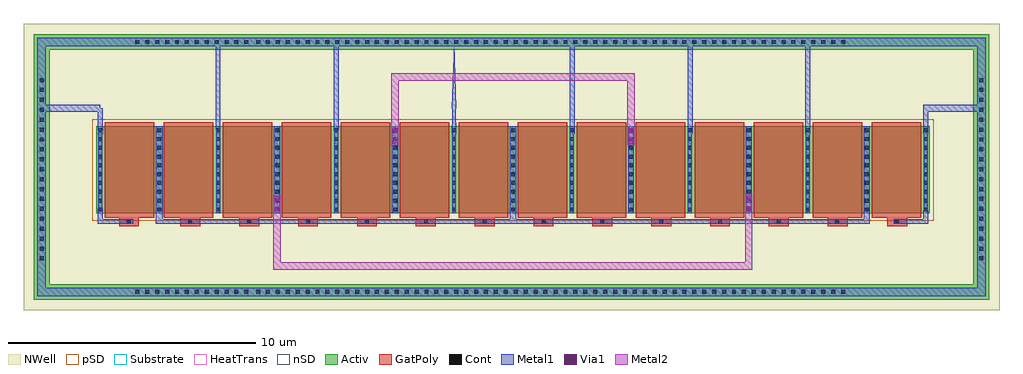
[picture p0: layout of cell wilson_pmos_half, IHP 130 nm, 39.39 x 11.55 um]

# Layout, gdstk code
from math import pi, radians
import gdstk
lib = gdstk.Library(unit=1e-6, precision=1e-09)
def R(c, l, rs):  # rectangles x0, y0, x1, y1
    for r in rs: c.add(gdstk.rectangle(r[:2], r[2:], *l))
def A(c, l, x, y, w, h, nx, ny, dx, dy):  # array of equal rectangles
    R(c, l, [(x+i*dx, y+j*dy, x+i*dx+w, y+j*dy+h) for i in range(nx) for j in range(ny)])
def P(c, l, *ps):  # polygons
    for p in ps: c.add(gdstk.Polygon(p, *l))
Activ = (1, 0)
GatPoly = (5, 0)
Cont = (6, 0)
nSD = (7, 0)
Metal1 = (8, 0)
Metal2 = (10, 0)
pSD = (14, 0)
Via1 = (19, 0)
NWell = (31, 0)
Substrate = (40, 0)
HeatTrans = (51, 0)

pmos_1 = lib.new_cell('pmos$1')
A(pmos_1, Activ, 0, 0, 0.3, 0.3, 15, 1, 2.38, 0)
R(pmos_1, Activ, [(0,0,33.62,3.5)])
A(pmos_1, GatPoly, 0.34, -0.18, 2, 3.86, 14, 1, 2.38, 0)
R(pmos_1, GatPoly, [(0.34,-0.18,2.34,3.68)])
A(pmos_1, Cont, 0.07, 0.07, 0.16, 0.16, 15, 9, 2.38, 0.355)
A(pmos_1, Cont, 0.07, 3.27, 0.16, 0.16, 15, 1, 2.38, 0)
A(pmos_1, Metal1, 2.45, 0, 0.16, 3.5, 14, 1, 2.38, 0)
R(pmos_1, Metal1, [(0.07,0,0.23,3.5), (0.07,0,0.23,3.5), (2.45,0,2.61,3.5)])
R(pmos_1, pSD, [(-0.18,-0.3,33.8,3.8)])
R(pmos_1, NWell, [(-0.31,-0.31,33.93,3.81)])
R(pmos_1, Substrate, [(33.32,0,33.62,0.3)])
A(pmos_1, HeatTrans, 0.34, -0.18, 2, 3.86, 14, 1, 2.38, 0)
pmos_1.add(gdstk.Label('pmos', (1.34,1.75), layer=63, texttype=0))
pmos_1.add(gdstk.Label('pmos', (1.34,1.75), layer=51, texttype=0))
pmos_1.add(gdstk.Label('pmos', (3.72,1.75), layer=51, texttype=0))
pmos_1.add(gdstk.Label('pmos', (6.1,1.75), layer=51, texttype=0))
pmos_1.add(gdstk.Label('pmos', (8.48,1.75), layer=51, texttype=0))
pmos_1.add(gdstk.Label('pmos', (10.86,1.75), layer=51, texttype=0))
pmos_1.add(gdstk.Label('pmos', (13.24,1.75), layer=51, texttype=0))
pmos_1.add(gdstk.Label('pmos', (15.62,1.75), layer=51, texttype=0))
pmos_1.add(gdstk.Label('pmos', (18,1.75), layer=51, texttype=0))
pmos_1.add(gdstk.Label('pmos', (20.38,1.75), layer=51, texttype=0))
pmos_1.add(gdstk.Label('pmos', (22.76,1.75), layer=51, texttype=0))
pmos_1.add(gdstk.Label('pmos', (25.14,1.75), layer=51, texttype=0))
pmos_1.add(gdstk.Label('pmos', (27.52,1.75), layer=51, texttype=0))
pmos_1.add(gdstk.Label('pmos', (29.9,1.75), layer=51, texttype=0))
pmos_1.add(gdstk.Label('pmos', (32.28,1.75), layer=51, texttype=0))

wilson_pmos_half = lib.new_cell('wilson_pmos_half')
A(wilson_pmos_half, GatPoly, -13.36, -1.885, 0.8, 0.355, 4, 1, 2.375, 0)
A(wilson_pmos_half, GatPoly, 5.64, -1.885, 0.8, 0.355, 4, 1, 2.375, 0)
R(wilson_pmos_half, GatPoly, [(-3.86,-1.89,-3.06,-1.53), (3.265,-1.89,4.065,-1.53), (-1.485,-1.885,-0.685,-1.53), (0.89,-1.885,1.69,-1.53), (15.165,-1.885,15.965,-1.53)])
P(wilson_pmos_half, GatPoly, [(-15.835,-1.885),(-15.835,-1.53),(-15.035,-1.53),(-15.035,-1.885),(-15.45,-1.885)])
A(wilson_pmos_half, Cont, -14.78, -4.615, 0.16, 0.16, 11, 2, 0.4, 10.085)
A(wilson_pmos_half, Cont, -10.31, -4.615, 0.16, 0.16, 30, 2, 0.4, 10.085)
A(wilson_pmos_half, Cont, 1.7, -4.615, 0.16, 0.16, 30, 2, 0.4, 10.085)
A(wilson_pmos_half, Cont, -19.04, -3.265, 0.16, 0.16, 1, 19, 0, 0.4)
A(wilson_pmos_half, Cont, 18.885, -3.265, 0.16, 0.16, 1, 19, 0, 0.4)
A(wilson_pmos_half, Cont, 1.215, -1.775, 0.16, 0.16, 3, 1, 2.37, 0)
R(wilson_pmos_half, Cont, [(-15.19,-4.615,-15.03,-4.455), (-15.53,-1.775,-15.37,-1.615), (-13.055,-1.775,-12.895,-1.615), (-10.655,-1.775,-10.495,-1.615), (-8.28,-1.775,-8.12,-1.615), (-5.915,-1.775,-5.755,-1.615), (-3.53,-1.775,-3.37,-1.615), (-1.165,-1.775,-1.005,-1.615), (8.335,-1.775,8.495,-1.615), (10.71,-1.775,10.87,-1.615), (13.075,-1.775,13.235,-1.615), (15.475,-1.775,15.635,-1.615), (-15.19,5.47,-15.03,5.63)])
R(wilson_pmos_half, Metal1, [(14.22,-1.795,14.46,2.14), (-9.59,-1.36,-9.34,2.14), (-4.835,-1.36,-4.565,2.14), (4.705,-1.36,4.94,2.14), (9.455,-1.36,9.705,2.14)])
P(wilson_pmos_half, Metal1, [(-14.355,-1.795),(-14.355,2.14),(-14.085,2.14),(-14.085,-1.795),(-14.185,-1.795)],
  [(-0.075,-1.695),(-0.075,2.14),(0.19,2.14),(0.19,-1.695),(0.1,-1.695)])
R(wilson_pmos_half, Via1, [(-9.565,-1.285,-9.375,-1.095), (9.485,-1.26,9.675,-1.07), (-9.565,-0.87,-9.375,-0.68), (9.485,-0.845,9.675,-0.655), (-4.79,1.44,-4.6,1.63), (4.725,1.45,4.915,1.64), (-4.79,1.865,-4.6,2.055), (4.725,1.87,4.915,2.06)])
R(wilson_pmos_half, NWell, [(-19.695,-5.27,19.695,6.28)])
wilson_pmos_half.add(gdstk.FlexPath([(15.42,-1.695),(16.72,-1.695),(16.72,-1.265)], 0.2, ends="flush", simple_path=True, layer=8, datatype=0))  # Metal1
wilson_pmos_half.add(gdstk.FlexPath([(14.34,-1.695),(-14.23,-1.695)], 0.2, ends="flush", simple_path=True, layer=8, datatype=0))  # Metal1
wilson_pmos_half.add(gdstk.FlexPath([(-15.265,-1.695),(-16.6,-1.695),(-16.6,-1.165)], 0.2, ends="flush", simple_path=True, layer=8, datatype=0))  # Metal1
wilson_pmos_half.add(gdstk.FlexPath([(11.96,1.84),(11.96,5.47)], 0.2, ends="flush", simple_path=True, layer=8, datatype=0))  # Metal1
wilson_pmos_half.add(gdstk.FlexPath([(16.72,1.84),(16.72,2.875)], 0.2, ends="flush", simple_path=True, layer=8, datatype=0))  # Metal1
wilson_pmos_half.add(gdstk.FlexPath([(7.205,1.84),(7.205,5.47)], 0.2, ends="flush", simple_path=True, layer=8, datatype=0))  # Metal1
wilson_pmos_half.add(gdstk.FlexPath([(2.445,1.84),(2.445,5.47)], 0.2, ends="flush", simple_path=True, layer=8, datatype=0))  # Metal1
wilson_pmos_half.add(gdstk.FlexPath([(-2.32,1.84),(-2.32,5.47),(-2.32,2.875)], 0.2, ends="flush", simple_path=True, layer=8, datatype=0))  # Metal1
wilson_pmos_half.add(gdstk.FlexPath([(-11.845,2.025),(-11.845,2.86),(-11.845,5.55)], 0.2, ends="flush", simple_path=True, layer=8, datatype=0))  # Metal1
wilson_pmos_half.add(gdstk.FlexPath([(-16.6,1.985),(-16.6,2.875)], 0.2, ends="flush", simple_path=True, layer=8, datatype=0))  # Metal1
wilson_pmos_half.add(gdstk.FlexPath([(16.615,2.875),(18.965,2.875)], 0.3, ends="flush", simple_path=True, layer=8, datatype=0))  # Metal1
wilson_pmos_half.add(gdstk.FlexPath([(-16.595,2.875),(-18.965,2.875)], 0.3, ends="flush", simple_path=True, layer=8, datatype=0))  # Metal1
wilson_pmos_half.add(gdstk.FlexPath([(18.965,-4.71),(18.965,5.55),(-7.155,5.55),(-11.865,5.55),(-18.965,5.55),(-18.965,-4.54),(18.795,-4.54)], 0.34, ends="flush", simple_path=True, layer=8, datatype=0))  # Metal1
wilson_pmos_half.add(gdstk.FlexPath([(-7.075,1.98),(-7.075,5.55)], 0.2, ends="flush", simple_path=True, layer=8, datatype=0))  # Metal1
wilson_pmos_half.add(gdstk.FlexPath([(-18.795,-4.54),(18.965,-4.54),(18.965,5.55),(-18.965,5.55),(-18.965,-4.86)], 0.64, ends="flush", simple_path=True, layer=1, datatype=0))  # Activ
wilson_pmos_half.add(gdstk.FlexPath([(-9.47,-0.65),(-9.47,-3.49),(9.575,-3.49),(9.575,-0.575)], 0.3, ends="flush", simple_path=True, layer=10, datatype=0))  # Metal2
wilson_pmos_half.add(gdstk.FlexPath([(-4.7,1.38),(-4.7,4.135),(4.82,4.135),(4.82,1.385)], 0.3, ends="flush", simple_path=True, layer=10, datatype=0))  # Metal2
wilson_pmos_half.add(gdstk.FlexPath([(-18.645,-4.54),(18.965,-4.54),(18.965,5.55),(-18.965,5.55),(-18.965,-4.855)], 0.64, ends="flush", simple_path=True, layer=7, datatype=0))  # nSD
wilson_pmos_half.add(gdstk.Reference(pmos_1, (16.87,2.14), rotation=pi))

lib.write_gds('wilson_pmos_half.gds')
